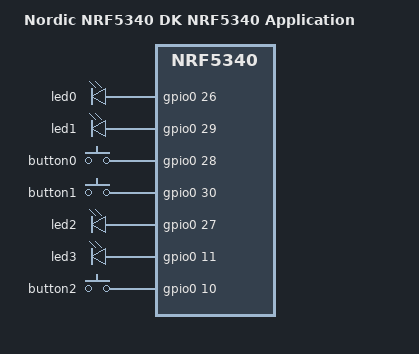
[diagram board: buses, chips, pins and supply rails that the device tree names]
/*
 * Copyright (c) 2020 Nordic Semiconductor ASA
 *
 * SPDX-License-Identifier: Apache-2.0
 */

/dts-v1/;
#include <nordic/nrf5340_cpuapp_qkaa.dtsi>
#include "nrf5340_cpuapp_common.dtsi"

/ {
	model = "Nordic NRF5340 DK NRF5340 Application";
	compatible = "nordic,nrf5340-dk-nrf5340-cpuapp";

	chosen {
		zephyr,sram = &sram0_image;
		zephyr,flash = &flash0;
		zephyr,code-partition = &slot0_partition;
		zephyr,sram-secure-partition = &sram0_s;
		zephyr,sram-non-secure-partition = &sram0_ns;
	};
};

&led0 {
	gpios = <&gpio0 26 0>;
};

&led1 {
	gpios = <&gpio0 29 0>;
};
/delete-node/ &{/pin-controller/pwm0_sleep/group1/};
/delete-node/ &{/pin-controller/pwm0_default/group1/};

&button0 {
	gpios = <&gpio0 28 0>;
};

&button1 {
	gpios = <&gpio0 30 0>;
};

&led2 {
	gpios = <&gpio0 27 0>;
};

&gpio_fwd {
	uart {
		gpios = <&gpio0 31 0>, <&gpio0 25 0>;
	};

	status = "okay";
};

&led3 {
	gpios = <&gpio0 11 0>;
};

&button2 {
	gpios = <&gpio0 10 0>;
};
